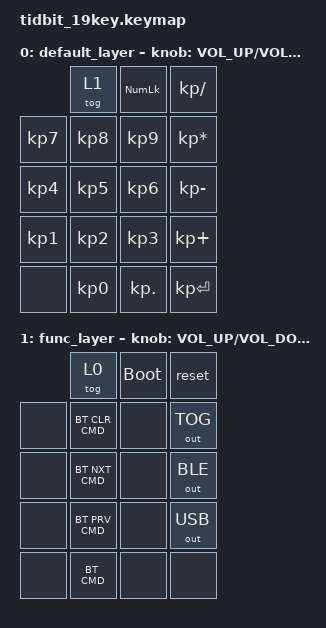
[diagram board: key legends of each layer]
/*
 * Copyright (c) 2020 The ZMK Contributors
 *
 * SPDX-License-Identifier: MIT
 */

#include <behaviors.dtsi>
#include <dt-bindings/zmk/bt.h>
#include <dt-bindings/zmk/outputs.h>
#include <dt-bindings/zmk/rgb.h>
#include <dt-bindings/zmk/keys.h>

&encoder_4 {
    status = "okay";
};

/ {
    keymap {
        compatible = "zmk,keymap";
        
        default_layer {
            bindings = <
                                &tog 1          &kp KP_NUMLOCK  &kp KP_SLASH
                &kp KP_NUMBER_7 &kp KP_NUMBER_8 &kp KP_NUMBER_9 &kp KP_ASTERISK
                &kp KP_NUMBER_4 &kp KP_NUMBER_5 &kp KP_NUMBER_6 &kp KP_MINUS
                &kp KP_NUMBER_1 &kp KP_NUMBER_2 &kp KP_NUMBER_3 &kp KP_PLUS
                &none           &kp KP_NUMBER_0 &kp KP_DOT      &kp KP_ENTER
            >;

            layer-bindings = <&layer_rgb RGB_BLUE &layer_lock NUMLOCK>;

            sensor-bindings = <&inc_dec_kp K_VOLUME_UP K_VOLUME_DOWN>;
        };

         func_layer {
             bindings = <
                      &tog 0          &bootloader &reset
                &none &bt BT_CLR_CMD  &none       &out OUT_TOG
                &none &bt BT_NXT_CMD &none       &out OUT_BLE
                &none &bt BT_PRV_CMD  &none       &out OUT_USB
                &none &bt BT_SEL_CMD  &none       &none
             >;

            sensor-bindings = <&inc_dec_kp K_VOLUME_UP K_VOLUME_DOWN>;
         };
    };
};
